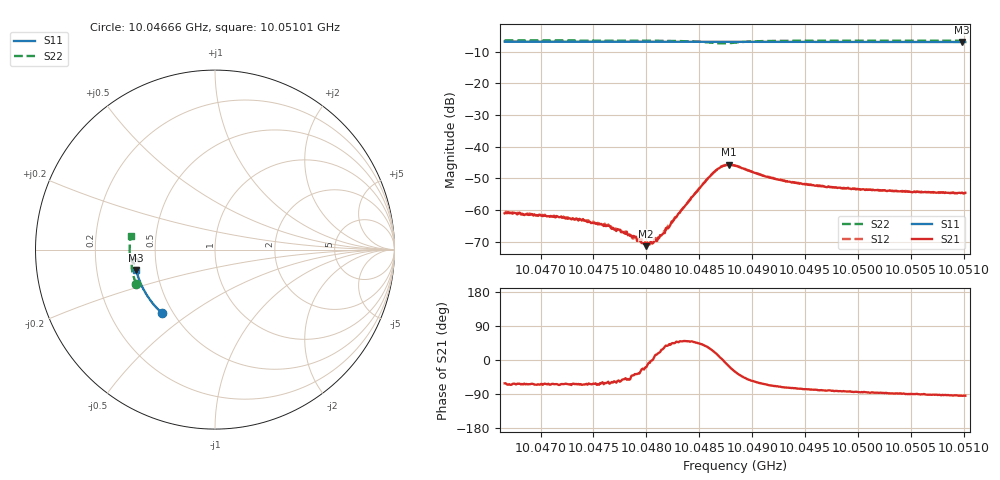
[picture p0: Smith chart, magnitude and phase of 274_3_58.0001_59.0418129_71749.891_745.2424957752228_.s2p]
#  HZ  S  RI  R  50.00
! Rohde & Schwarz Vector Network Analyzer
! Rohde-Schwarz,ZNB20-2Port,1311601062101988,3.16
! Created: UTC 3/21/2024, 1:02:36 AM
! freq[Hz]  re:S11  im:S11  re:S21  im:S21  re:S12  im:S12  re:S22  im:S22
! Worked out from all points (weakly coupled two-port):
!   401 points, 10.04666 GHz to 10.05101 GHz, reference 50 ohm
!   highest |S21| = -45.72 dB at 10.04878 GHz (marker M1); lowest = -71.5 dB at 10.048 GHz (marker M2)
!   lowest |S11| = -6.9 dB at 10.05098 GHz (marker M3), VSWR 2.66, Z = 19.1 - j5.49 ohm
!   |S11| at or under -10 dB: nowhere
!   |S22| runs from -7.3 to -6.4 dB; largest |S21 - S12| = 0.00035
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1.004666e10  -0.2944 -0.3545  0.00042 -0.000776  0.00049 -0.000798  -0.4386 -0.1938
1.0047172e10  -0.319 -0.3312  0.000315 -0.000702  0.00036 -0.000686  -0.4506 -0.1612
1.0047237e10  -0.3219 -0.328  0.000338 -0.000646  0.00038 -0.000662  -0.4519 -0.1567
1.004739e10  -0.3289 -0.3206  0.000285 -0.000627  0.000327 -0.000597  -0.4549 -0.1465
1.0047618e10  -0.3388 -0.3092  0.000268 -0.000485  0.000296 -0.000482  -0.4589 -0.1309
1.0047814e10  -0.3472 -0.2993  0.000278 -0.000357  0.000279 -0.000318  -0.4617 -0.1168
1.004788e10  -0.3498 -0.2959  0.000294 -0.000253  0.000277 -0.000231  -0.4624 -0.1119
1.0047978e10  -0.3538 -0.2909  0.000262 -0.000123  0.000279 -9.45e-05  -0.4634 -0.1043
1.0047999e10  -0.3547 -0.2897  0.000252 -8.68e-05  0.000281 -7.84e-05  -0.4637 -0.1027
1.0048043e10  -0.3565 -0.2875  0.000313 -1.3e-05  0.000303 -1.19e-05  -0.464 -0.0993
1.0048119e10  -0.3594 -0.2834  0.000336 0.000117  0.000336 0.00015  -0.4643 -0.0929
1.0048587e10  -0.3769 -0.258  0.00273 0.00174  0.00263 0.00188  -0.4435 -0.0509
1.0048685e10  -0.3801 -0.2525  0.00447 0.000801  0.00449 0.00111  -0.4283 -0.056
1.0048783e10  -0.3833 -0.2474  0.00494 -0.00153  0.00505 -0.00124  -0.4282 -0.0731
1.0048838e10  -0.3853 -0.2443  0.00431 -0.00258  0.00447 -0.00233  -0.4362 -0.0786
1.0049153e10  -0.3959 -0.2263  0.00133 -0.00302  0.00155 -0.00296  -0.4671 -0.058
1.0049338e10  -0.4016 -0.2155  0.000826 -0.00268  0.000997 -0.00266  -0.4718 -0.042
1.0049567e10  -0.4082 -0.2019  0.00051 -0.00241  0.000644 -0.00239  -0.4745 -0.024
1.0049828e10  -0.4151 -0.1863  0.000308 -0.00223  0.000416 -0.0022  -0.4757 -0.00463
1.0050296e10  -0.4261 -0.1575  7.09e-05 -0.00202  0.00023 -0.00203  -0.4751 0.0281
1.0050982e10  -0.4385 -0.1143  -0.000146 -0.00187  2.67e-07 -0.00186  -0.4697 0.0741
1.0051015e10  -0.439 -0.1123  -0.000135 -0.00186  -3.93e-05 -0.00185  -0.4695 0.0763
